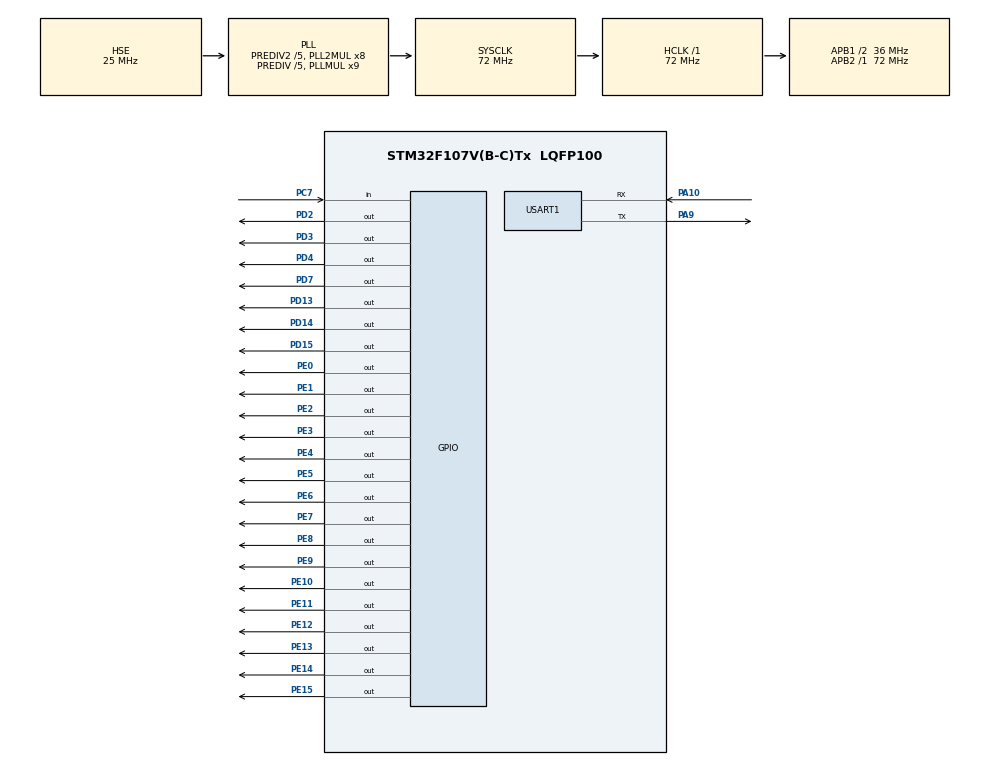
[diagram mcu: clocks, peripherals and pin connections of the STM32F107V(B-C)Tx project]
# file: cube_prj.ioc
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Mcu.Family=STM32F1
Mcu.Name=STM32F107V(B-C)Tx
Mcu.Package=LQFP100
NVIC.PriorityGroup=NVIC_PRIORITYGROUP_1
NVIC.USART1_IRQn=true\:0\:0\:false\:false\:true
OSC_IN.Mode=HSE-External-Oscillator
OSC_IN.Signal=RCC_OSC_IN
OSC_OUT.Mode=HSE-External-Oscillator
OSC_OUT.Signal=RCC_OSC_OUT
PA10.Mode=Asynchronous
PA10.Signal=USART1_RX
PA13.Mode=Serial_Wire
PA13.Signal=SYS_JTMS-SWDIO
PA14.Mode=Serial_Wire
PA14.Signal=SYS_JTCK-SWCLK
PA9.Mode=Asynchronous
PA9.Signal=USART1_TX
PC14-OSC32_IN.Mode=LSE-External-Oscillator
PC14-OSC32_IN.Signal=RCC_OSC32_IN
PC15-OSC32_OUT.Mode=LSE-External-Oscillator
PC15-OSC32_OUT.Signal=RCC_OSC32_OUT
PC7.Signal=GPIO_Input
PD13.Signal=GPIO_Output
PD14.Signal=GPIO_Output
PD15.Signal=GPIO_Output
PD2.Signal=GPIO_Output
PD3.Signal=GPIO_Output
PD4.Signal=GPIO_Output
PD7.Signal=GPIO_Output
PE0.GPIO_Speed=GPIO_SPEED_HIGH
PE0.Signal=GPIO_Output
PE1.GPIO_Speed=GPIO_SPEED_HIGH
PE1.Signal=GPIO_Output
PE10.GPIO_Speed=GPIO_SPEED_HIGH
PE10.Signal=GPIO_Output
PE11.GPIO_Speed=GPIO_SPEED_HIGH
PE11.Signal=GPIO_Output
PE12.GPIO_Speed=GPIO_SPEED_HIGH
PE12.Signal=GPIO_Output
PE13.GPIO_Speed=GPIO_SPEED_HIGH
PE13.Signal=GPIO_Output
PE14.GPIO_Speed=GPIO_SPEED_HIGH
PE14.Signal=GPIO_Output
PE15.GPIO_Speed=GPIO_SPEED_HIGH
PE15.Signal=GPIO_Output
PE2.GPIO_Speed=GPIO_SPEED_HIGH
PE2.Signal=GPIO_Output
PE3.GPIO_Speed=GPIO_SPEED_HIGH
PE3.Signal=GPIO_Output
PE4.GPIO_Speed=GPIO_SPEED_HIGH
PE4.Signal=GPIO_Output
PE5.GPIO_Speed=GPIO_SPEED_HIGH
PE5.Signal=GPIO_Output
PE6.GPIO_Speed=GPIO_SPEED_HIGH
PE6.Signal=GPIO_Output
PE7.GPIO_Speed=GPIO_SPEED_HIGH
PE7.Signal=GPIO_Output
PE8.GPIO_Speed=GPIO_SPEED_HIGH
PE8.Signal=GPIO_Output
PE9.GPIO_Speed=GPIO_SPEED_HIGH
PE9.Signal=GPIO_Output
ProjectManager.HeapSize=0x400
ProjectManager.StackSize=0x200
ProjectManager.TargetToolchain=MDK-ARM V5
RCC.AHBFreq_Value=72000000
RCC.APB1CLKDivider=RCC_HCLK_DIV2
RCC.APB1Freq_Value=36000000
RCC.APB1TimFreq_Value=72000000
RCC.APB2Freq_Value=72000000
RCC.APB2TimFreq_Value=72000000
RCC.HCLKFreq_Value=72000000
RCC.HSEDivPLL=RCC_HSE_PREDIV_DIV5
RCC.HSE_VALUE=25000000
RCC.HSIState=RCC_HSI_ON
RCC.PLLMUL=RCC_PLL_MUL9
RCC.PLLSourceVirtual=RCC_PLLSOURCE_HSE
RCC.Prediv1Source=RCC_PREDIV1_SOURCE_PLL2
RCC.Prediv2=RCC_HSE_PREDIV2_DIV5
RCC.SYSCLKFreq_VALUE=72000000
RCC.SYSCLKSource=RCC_SYSCLKSOURCE_PLLCLK
RCC.USBFreq_Value=48000000
VP_CRC_VS_CRC.Mode=CRC_Activate
board=cube_prj

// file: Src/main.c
/**
  ******************************************************************************
  * File Name          : main.c
  * Description        : Main program body
  ******************************************************************************
  *
  * COPYRIGHT(c) 2016 STMicroelectronics
  *
  * Redistribution and use in source and binary forms, with or without modification,
  * are permitted provided that the following conditions are met:
  *   1. Redistributions of source code must retain the above copyright notice,
  *      this list of conditions and the following disclaimer.
  *   2. Redistributions in binary form must reproduce the above copyright notice,
  *      this list of conditions and the following disclaimer in the documentation
  *      and/or other materials provided with the distribution.
  *   3. Neither the name of STMicroelectronics nor the names of its contributors
  *      may be used to endorse or promote products derived from this software
  *      without specific prior written permission.
  *
  * THIS SOFTWARE IS PROVIDED BY THE COPYRIGHT HOLDERS AND CONTRIBUTORS "AS IS"
  * AND ANY EXPRESS OR IMPLIED WARRANTIES, INCLUDING, BUT NOT LIMITED TO, THE
  * IMPLIED WARRANTIES OF MERCHANTABILITY AND FITNESS FOR A PARTICULAR PURPOSE ARE
  * DISCLAIMED. IN NO EVENT SHALL THE COPYRIGHT HOLDER OR CONTRIBUTORS BE LIABLE
  * FOR ANY DIRECT, INDIRECT, INCIDENTAL, SPECIAL, EXEMPLARY, OR CONSEQUENTIAL
  * DAMAGES (INCLUDING, BUT NOT LIMITED TO, PROCUREMENT OF SUBSTITUTE GOODS OR
  * SERVICES; LOSS OF USE, DATA, OR PROFITS; OR BUSINESS INTERRUPTION) HOWEVER
  * CAUSED AND ON ANY THEORY OF LIABILITY, WHETHER IN CONTRACT, STRICT LIABILITY,
  * OR TORT (INCLUDING NEGLIGENCE OR OTHERWISE) ARISING IN ANY WAY OUT OF THE USE
  * OF THIS SOFTWARE, EVEN IF ADVISED OF THE POSSIBILITY OF SUCH DAMAGE.
  *
  ******************************************************************************
  */
#include "stm32f1xx_hal.h"
#include "crc.h"
#include "usart.h"
#include "gpio.h"

/* USER CODE BEGIN Includes */
#include "delay.h"
#include "led.h"
//#include "key.h"
//#include "app_led.h"
//#include "exti_dup.h"
//#include "tim_dup.h"
#include "uart_dup.h"
#include "lcd_ssd1289.h"
#include "gui.h"            /**< STemwin */

/* USER CODE END Includes */

/* USER CODE BEGIN PV */
/* Private variables ---------------------------------------------------------*/
#define UART_BUFF_SIZE  1

//static __IO uint16_t uart_buff[UART_BUFF_SIZE];
/* USER CODE END PV */

void SystemClock_Config(void);

/* USER CODE BEGIN PFP */
/* Private function prototypes -----------------------------------------------*/

/* USER CODE END PFP */

/* USER CODE BEGIN 0 */
extern GUI_CONST_STORAGE GUI_FONT GUI_FontYaHei28;
//extern DMA_HandleTypeDef hdma_usart1_tx;
/* USER CODE END 0 */

int main(void)
{

  /* USER CODE BEGIN 1 */
//    uint16_t i = 0;
    uint8_t cmd;
  /* USER CODE END 1 */

  /* MCU Configuration----------------------------------------------------------*/

  /* Reset of all peripherals, Initializes the Flash interface and the Systick. */
  HAL_Init();

  /* Configure the system clock */
  SystemClock_Config();

  /* Initialize all configured peripherals */
  MX_GPIO_Init();
  MX_CRC_Init();
  MX_USART1_UART_Init();

  /* USER CODE BEGIN 2 */

    GUI_Init();
    GUI_UC_SetEncodeUTF8();

    GUI_SetBkColor(GUI_BLACK);
    GUI_SetColor(GUI_GREEN);

    GUI_SetFont(&GUI_Font32B_ASCII);
    GUI_DispStringAt("Display HanZi", 60, 50);

    GUI_SetFont(&GUI_FontYaHei28);
    GUI_DispStringAt("南京工业大学", 80, 100);    /**< 以上GUI代码和本例程基本无关 */

  /* USER CODE END 2 */

  /* Infinite loop */
  while (1)
  {

  /* USER CODE BEGIN 3 */
    cmd = uart1_get_recv_cmd();
    switch(cmd)
    {
    case 0x10:
        led_on(LED_0);
        uart1_send_data();
        break;
    case 0x11:
        led_off(LED_0);
        uart1_send_data();
        break;
    default:
        break;
    }
  }
  /* USER CODE END 3 */

}

/** System Clock Configuration
*/
void SystemClock_Config(void)
{

  RCC_OscInitTypeDef RCC_OscInitStruct;
  RCC_ClkInitTypeDef RCC_ClkInitStruct;

  RCC_OscInitStruct.OscillatorType = RCC_OSCILLATORTYPE_HSE;
  RCC_OscInitStruct.HSEState = RCC_HSE_ON;
  RCC_OscInitStruct.HSEPredivValue = RCC_HSE_PREDIV_DIV5;
  RCC_OscInitStruct.Prediv1Source = RCC_PREDIV1_SOURCE_PLL2;
  RCC_OscInitStruct.PLL.PLLState = RCC_PLL_ON;
  RCC_OscInitStruct.PLL.PLLSource = RCC_PLLSOURCE_HSE;
  RCC_OscInitStruct.PLL.PLLMUL = RCC_PLL_MUL9;
  RCC_OscInitStruct.PLL2.PLL2State = RCC_PLL2_ON;
  RCC_OscInitStruct.PLL2.PLL2MUL = RCC_PLL2_MUL8;
  RCC_OscInitStruct.PLL2.HSEPrediv2Value = RCC_HSE_PREDIV2_DIV5;
  HAL_RCC_OscConfig(&RCC_OscInitStruct);

  RCC_ClkInitStruct.ClockType = RCC_CLOCKTYPE_HCLK|RCC_CLOCKTYPE_SYSCLK
                              |RCC_CLOCKTYPE_PCLK1|RCC_CLOCKTYPE_PCLK2;
  RCC_ClkInitStruct.SYSCLKSource = RCC_SYSCLKSOURCE_PLLCLK;
  RCC_ClkInitStruct.AHBCLKDivider = RCC_SYSCLK_DIV1;
  RCC_ClkInitStruct.APB1CLKDivider = RCC_HCLK_DIV2;
  RCC_ClkInitStruct.APB2CLKDivider = RCC_HCLK_DIV1;
  HAL_RCC_ClockConfig(&RCC_ClkInitStruct, FLASH_LATENCY_2);

  HAL_SYSTICK_Config(HAL_RCC_GetHCLKFreq()/1000);

  HAL_SYSTICK_CLKSourceConfig(SYSTICK_CLKSOURCE_HCLK);

  __HAL_RCC_PLLI2S_ENABLE();

  /* SysTick_IRQn interrupt configuration */
  HAL_NVIC_SetPriority(SysTick_IRQn, 0, 0);
}

/************************ (C) COPYRIGHT STMicroelectronics *****END OF FILE****/
